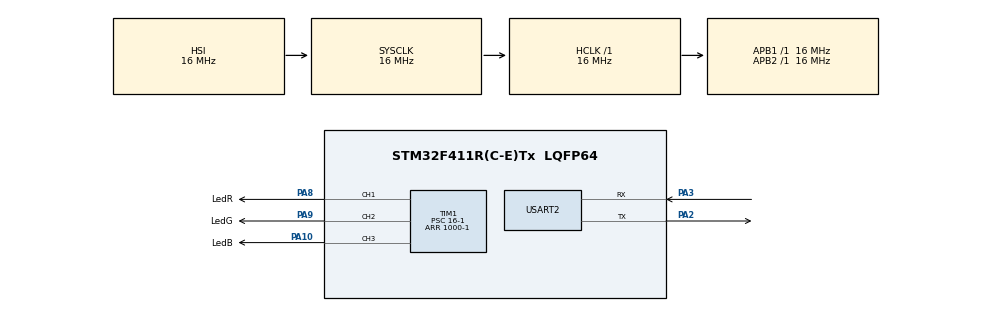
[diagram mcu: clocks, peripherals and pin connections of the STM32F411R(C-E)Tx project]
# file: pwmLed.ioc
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Mcu.Family=STM32F4
Mcu.Name=STM32F411R(C-E)Tx
Mcu.Package=LQFP64
NVIC.PriorityGroup=NVIC_PRIORITYGROUP_4
NVIC.USART2_IRQn=true\:0\:0\:false\:false\:true\:true\:true\:true
PA10.GPIO_Label=LedB
PA10.Signal=S_TIM1_CH3
PA2.Mode=Asynchronous
PA2.Signal=USART2_TX
PA3.Mode=Asynchronous
PA3.Signal=USART2_RX
PA8.GPIO_Label=LedR
PA8.Signal=S_TIM1_CH1
PA9.GPIO_Label=LedG
PA9.Signal=S_TIM1_CH2
ProjectManager.HeapSize=0x200
ProjectManager.StackSize=0x400
ProjectManager.TargetToolchain=STM32CubeIDE
RCC.AHBFreq_Value=16000000
RCC.APB1Freq_Value=16000000
RCC.APB2Freq_Value=16000000
RCC.CortexFreq_Value=16000000
RCC.HSE_VALUE=25000000
RCC.HSI_VALUE=16000000
RCC.LSE_VALUE=32768
RCC.SYSCLKFreq_VALUE=16000000
RCC.VCOOutputFreq_Value=192000000
SH.S_TIM1_CH1.0=TIM1_CH1,PWM Generation1 CH1
SH.S_TIM1_CH2.0=TIM1_CH2,PWM Generation2 CH2
SH.S_TIM1_CH3.0=TIM1_CH3,PWM Generation3 CH3
TIM1.Channel-PWM\ Generation1\ CH1=TIM_CHANNEL_1
TIM1.Channel-PWM\ Generation2\ CH2=TIM_CHANNEL_2
TIM1.Channel-PWM\ Generation3\ CH3=TIM_CHANNEL_3
TIM1.Period=1000-1
TIM1.Prescaler=16-1
TIM1.Pulse-PWM\ Generation1\ CH1=1
TIM1.Pulse-PWM\ Generation2\ CH2=1
USART2.VirtualMode=VM_ASYNC
VP_TIM1_VS_ClockSourceINT.Mode=Internal
board=custom

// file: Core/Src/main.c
/* USER CODE BEGIN Header */
/**
  ******************************************************************************
  * @file           : main.c
  * @brief          : Main program body
  ******************************************************************************
  * @attention
  *
  * Copyright (c) 2024 STMicroelectronics.
  * All rights reserved.
  *
  * This software is licensed under terms that can be found in the LICENSE file
  * in the root directory of this software component.
  * If no LICENSE file comes with this software, it is provided AS-IS.
  *
  ******************************************************************************
  */
/* USER CODE END Header */
#include "main.h"

/* USER CODE BEGIN Includes */
#include "uart.h"
#include "hsv2rgb.h"
#include<stdio.h>
/* USER CODE END Includes */

TIM_HandleTypeDef htim1;

UART_HandleTypeDef huart2;

void SystemClock_Config(void);
static void MX_GPIO_Init(void);
static void MX_USART2_UART_Init(void);
static void MX_TIM1_Init(void);

int main(void)
{

  /* MCU Configuration--------------------------------------------------------*/

  /* Reset of all peripherals, Initializes the Flash interface and the Systick. */
  HAL_Init();

  /* Configure the system clock */
  SystemClock_Config();

  /* Initialize all configured peripherals */
  MX_GPIO_Init();
  MX_USART2_UART_Init();
  MX_TIM1_Init();
  /* USER CODE BEGIN 2 */
  //HAL_TIM_Base_Start(&htim2);//only connect timer not pwm
  //HAL_TIM_PWM_Start(&htim2, TIM_CHANNEL_1);
  HAL_TIM_PWM_Start(&htim1, TIM_CHANNEL_1);
  HAL_TIM_PWM_Start(&htim1, TIM_CHANNEL_2);
  HAL_TIM_PWM_Start(&htim1, TIM_CHANNEL_3);
  //HAL_TIM_PWM_Start(&htim2, TIM_CHANNEL_2);
  //HAL_TIM_PWM_Start(&htim2, TIM_CHANNEL_3);
  //htim2.Instance->CCR1=100-1;

  struct hsv_colour hsv;
  struct rgb_colour rgb;
  hsv.h=0;
  /* USER CODE END 2 */

  /* Infinite loop */
  /* USER CODE BEGIN WHILE */
  while (1)
  {
  	hsv.s=1;
  	hsv.v=1;
  	hsv2rgb(&hsv, &rgb);
  	htim1. Instance->CCR1=rgb.r*100;
  	htim1. Instance->CCR2=rgb.g*100;
  	htim1. Instance->CCR3=rgb.b*100;
  	hsv.h+=0.01;
  	if(hsv.h>=1.0) hsv.h=0;
  	HAL_Delay(30);
  	/*
  	static int i=0;
  	for(int j=0; i<100; j++){
  		if(i==0){
  			htim1.Instance->CCR1=(50-1)*(100-j)/100;
  			htim1.Instance->CCR2=(50-1)*j/100;
  			htim1.Instance->CCR3=0;
  			HAL_Delay(10);
  		}
  		if(i==1){
  			htim1.Instance->CCR1=0;
  			htim1.Instance->CCR2=(50-1)*(100-j)/100;
  			htim1.Instance->CCR3=(50-1)*j/100;
  			HAL_Delay(10);
  		}
  		if(i==2){
  			htim1.Instance->CCR1=(50-1)*j/100;
  			htim1.Instance->CCR2=0;
  			htim1.Instance->CCR3=(50-1)*(100-j)/100;
  			HAL_Delay(10);
  		}
  		i++;
  		i%=3;
  		HAL_Delay(1000);
  	}
  	*/
  }
  	/*
  	for(int i=1; i<1000; i*=2){
  		htim2.Instance->CCR1=i;
  		HAL_Delay(100);
  	}
  	for(int i=1; i<1000; i*=2){
  		htim2.Instance->CCR1=999-i;
  		HAL_Delay(100);
  	}
  	*/
    /* USER CODE END WHILE */

}

void SystemClock_Config(void)
{
  RCC_OscInitTypeDef RCC_OscInitStruct = {0};
  RCC_ClkInitTypeDef RCC_ClkInitStruct = {0};

  /** Configure the main internal regulator output voltage
  */
  __HAL_RCC_PWR_CLK_ENABLE();
  __HAL_PWR_VOLTAGESCALING_CONFIG(PWR_REGULATOR_VOLTAGE_SCALE1);

  /** Initializes the RCC Oscillators according to the specified parameters
  * in the RCC_OscInitTypeDef structure.
  */
  RCC_OscInitStruct.OscillatorType = RCC_OSCILLATORTYPE_HSI;
  RCC_OscInitStruct.HSIState = RCC_HSI_ON;
  RCC_OscInitStruct.HSICalibrationValue = RCC_HSICALIBRATION_DEFAULT;
  RCC_OscInitStruct.PLL.PLLState = RCC_PLL_NONE;
  if (HAL_RCC_OscConfig(&RCC_OscInitStruct) != HAL_OK)
  {
    Error_Handler();
  }

  /** Initializes the CPU, AHB and APB buses clocks
  */
  RCC_ClkInitStruct.ClockType = RCC_CLOCKTYPE_HCLK|RCC_CLOCKTYPE_SYSCLK
                              |RCC_CLOCKTYPE_PCLK1|RCC_CLOCKTYPE_PCLK2;
  RCC_ClkInitStruct.SYSCLKSource = RCC_SYSCLKSOURCE_HSI;
  RCC_ClkInitStruct.AHBCLKDivider = RCC_SYSCLK_DIV1;
  RCC_ClkInitStruct.APB1CLKDivider = RCC_HCLK_DIV1;
  RCC_ClkInitStruct.APB2CLKDivider = RCC_HCLK_DIV1;

  if (HAL_RCC_ClockConfig(&RCC_ClkInitStruct, FLASH_LATENCY_0) != HAL_OK)
  {
    Error_Handler();
  }
}

static void MX_TIM1_Init(void)
{

  TIM_ClockConfigTypeDef sClockSourceConfig = {0};
  TIM_MasterConfigTypeDef sMasterConfig = {0};
  TIM_OC_InitTypeDef sConfigOC = {0};
  TIM_BreakDeadTimeConfigTypeDef sBreakDeadTimeConfig = {0};

  htim1.Instance = TIM1;
  htim1.Init.Prescaler = 16-1;
  htim1.Init.CounterMode = TIM_COUNTERMODE_UP;
  htim1.Init.Period = 1000-1;
  htim1.Init.ClockDivision = TIM_CLOCKDIVISION_DIV1;
  htim1.Init.RepetitionCounter = 0;
  htim1.Init.AutoReloadPreload = TIM_AUTORELOAD_PRELOAD_DISABLE;
  if (HAL_TIM_Base_Init(&htim1) != HAL_OK)
  {
    Error_Handler();
  }
  sClockSourceConfig.ClockSource = TIM_CLOCKSOURCE_INTERNAL;
  if (HAL_TIM_ConfigClockSource(&htim1, &sClockSourceConfig) != HAL_OK)
  {
    Error_Handler();
  }
  if (HAL_TIM_PWM_Init(&htim1) != HAL_OK)
  {
    Error_Handler();
  }
  sMasterConfig.MasterOutputTrigger = TIM_TRGO_RESET;
  sMasterConfig.MasterSlaveMode = TIM_MASTERSLAVEMODE_DISABLE;
  if (HAL_TIMEx_MasterConfigSynchronization(&htim1, &sMasterConfig) != HAL_OK)
  {
    Error_Handler();
  }
  sConfigOC.OCMode = TIM_OCMODE_PWM1;
  sConfigOC.Pulse = 1;
  sConfigOC.OCPolarity = TIM_OCPOLARITY_HIGH;
  sConfigOC.OCNPolarity = TIM_OCNPOLARITY_HIGH;
  sConfigOC.OCFastMode = TIM_OCFAST_DISABLE;
  sConfigOC.OCIdleState = TIM_OCIDLESTATE_RESET;
  sConfigOC.OCNIdleState = TIM_OCNIDLESTATE_RESET;
  if (HAL_TIM_PWM_ConfigChannel(&htim1, &sConfigOC, TIM_CHANNEL_1) != HAL_OK)
  {
    Error_Handler();
  }
  if (HAL_TIM_PWM_ConfigChannel(&htim1, &sConfigOC, TIM_CHANNEL_2) != HAL_OK)
  {
    Error_Handler();
  }
  sConfigOC.Pulse = 0;
  if (HAL_TIM_PWM_ConfigChannel(&htim1, &sConfigOC, TIM_CHANNEL_3) != HAL_OK)
  {
    Error_Handler();
  }
  sBreakDeadTimeConfig.OffStateRunMode = TIM_OSSR_DISABLE;
  sBreakDeadTimeConfig.OffStateIDLEMode = TIM_OSSI_DISABLE;
  sBreakDeadTimeConfig.LockLevel = TIM_LOCKLEVEL_OFF;
  sBreakDeadTimeConfig.DeadTime = 0;
  sBreakDeadTimeConfig.BreakState = TIM_BREAK_DISABLE;
  sBreakDeadTimeConfig.BreakPolarity = TIM_BREAKPOLARITY_HIGH;
  sBreakDeadTimeConfig.AutomaticOutput = TIM_AUTOMATICOUTPUT_DISABLE;
  if (HAL_TIMEx_ConfigBreakDeadTime(&htim1, &sBreakDeadTimeConfig) != HAL_OK)
  {
    Error_Handler();
  }
  HAL_TIM_MspPostInit(&htim1);

}

static void MX_USART2_UART_Init(void)
{

  huart2.Instance = USART2;
  huart2.Init.BaudRate = 115200;
  huart2.Init.WordLength = UART_WORDLENGTH_8B;
  huart2.Init.StopBits = UART_STOPBITS_1;
  huart2.Init.Parity = UART_PARITY_NONE;
  huart2.Init.Mode = UART_MODE_TX_RX;
  huart2.Init.HwFlowCtl = UART_HWCONTROL_NONE;
  huart2.Init.OverSampling = UART_OVERSAMPLING_16;
  if (HAL_UART_Init(&huart2) != HAL_OK)
  {
    Error_Handler();
  }

}

static void MX_GPIO_Init(void)
{

  /* GPIO Ports Clock Enable */
  __HAL_RCC_GPIOA_CLK_ENABLE();

}

void Error_Handler(void)
{
  __disable_irq();
  while (1)
  {
  }
}
